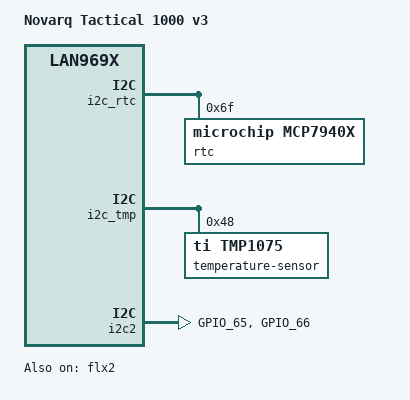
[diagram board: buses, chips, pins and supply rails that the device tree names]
// SPDX-License-Identifier: GPL-2.0-or-later OR MIT

/dts-v1/;

#include "lan969x-tactical-1000-v2.dtsi"

/ {
	model = "Novarq Tactical 1000 v3";
	compatible = "novarq,tactical-1000-v3", "microchip,lan969x";
};

&i2c_mux {
	i2c_rtc: i2c@4 {
		reg = <0x4>;
		#address-cells = <1>;
		#size-cells = <0>;

		rtc@6f {
			compatible = "microchip,mcp7940x";
			reg = <0x6f>;
		};
	};

	i2c_tmp: i2c@6 {
		reg = <0x6>;
		#address-cells = <1>;
		#size-cells = <0>;

		temperature-sensor@48 {
			compatible = "ti,tmp1075";
			reg = <0x48>;
		};
	};
};

&gpio {
	case_fan_pins: case-fan-pins {
		pins = "GPIO_59";
		function = "gpio";
	};

	fc2_pins: fc2-pins {
		pins = "GPIO_65", "GPIO_66";
		function = "fc";
	};
};

&flx2 {
	atmel,flexcom-mode = <ATMEL_FLEXCOM_MODE_TWI>;
	status = "okay";
};

&i2c2 {
	pinctrl-0 = <&fc2_pins>;
	pinctrl-names = "default";
	i2c-analog-filter;
	i2c-digital-filter;
	i2c-digital-filter-width-ns = <35>;
	i2c-sda-hold-time-ns = <1500>;
	status = "okay";

	/* ATECC608C lives here on 0x60 */
};
